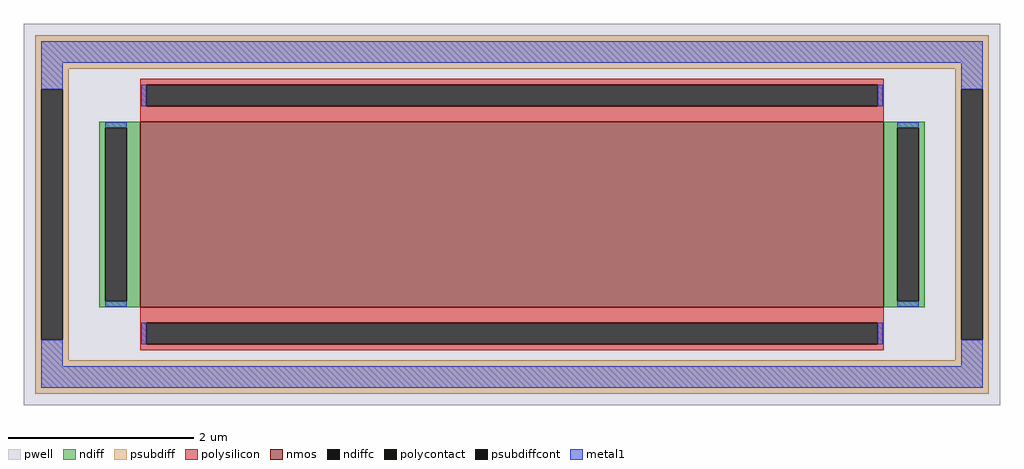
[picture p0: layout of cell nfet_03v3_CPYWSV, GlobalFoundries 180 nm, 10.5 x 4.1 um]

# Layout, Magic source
magic
tech gf180mcuD
magscale 1 10
<< pwell >>
rect -1050 -410 1050 410
<< nmos >>
rect -800 -200 800 200
<< ndiff >>
rect -888 187 -800 200
rect -888 -187 -875 187
rect -829 -187 -800 187
rect -888 -200 -800 -187
rect 800 187 888 200
rect 800 -187 829 187
rect 875 -187 888 187
rect 800 -200 888 -187
<< ndiffc >>
rect -875 -187 -829 187
rect 829 -187 875 187
<< psubdiff >>
rect -1026 314 1026 386
rect -1026 270 -954 314
rect -1026 -270 -1013 270
rect -967 -270 -954 270
rect 954 270 1026 314
rect -1026 -314 -954 -270
rect 954 -270 967 270
rect 1013 -270 1026 270
rect 954 -314 1026 -270
rect -1026 -386 1026 -314
<< psubdiffcont >>
rect -1013 -270 -967 270
rect 967 -270 1013 270
<< polysilicon >>
rect -800 279 800 292
rect -800 233 -787 279
rect 787 233 800 279
rect -800 200 800 233
rect -800 -233 800 -200
rect -800 -279 -787 -233
rect 787 -279 800 -233
rect -800 -292 800 -279
<< polycontact >>
rect -787 233 787 279
rect -787 -279 787 -233
<< metal1 >>
rect -1013 327 1013 373
rect -1013 270 -967 327
rect -798 233 -787 279
rect 787 233 798 279
rect 967 270 1013 327
rect -875 187 -829 198
rect -875 -198 -829 -187
rect 829 187 875 198
rect 829 -198 875 -187
rect -1013 -327 -967 -270
rect -798 -279 -787 -233
rect 787 -279 798 -233
rect 967 -327 1013 -270
rect -1013 -373 1013 -327
<< properties >>
string FIXED_BBOX -990 -350 990 350
string gencell nfet_03v3
string library gf180mcu
string parameters w 2 l 8 m 1 nf 1 diffcov 100 polycov 100 guard 1 glc 1 grc 1 gtc 0 gbc 0 tbcov 100 rlcov 100 topc 1 botc 1 poverlap 0 doverlap 1 lmin 0.28 wmin 0.22 class mosfet full_metal 1 compatible {nfet_03v3 nfet_05v0 nfet_06v0 nfet_06v0_nvt}
<< end >>
